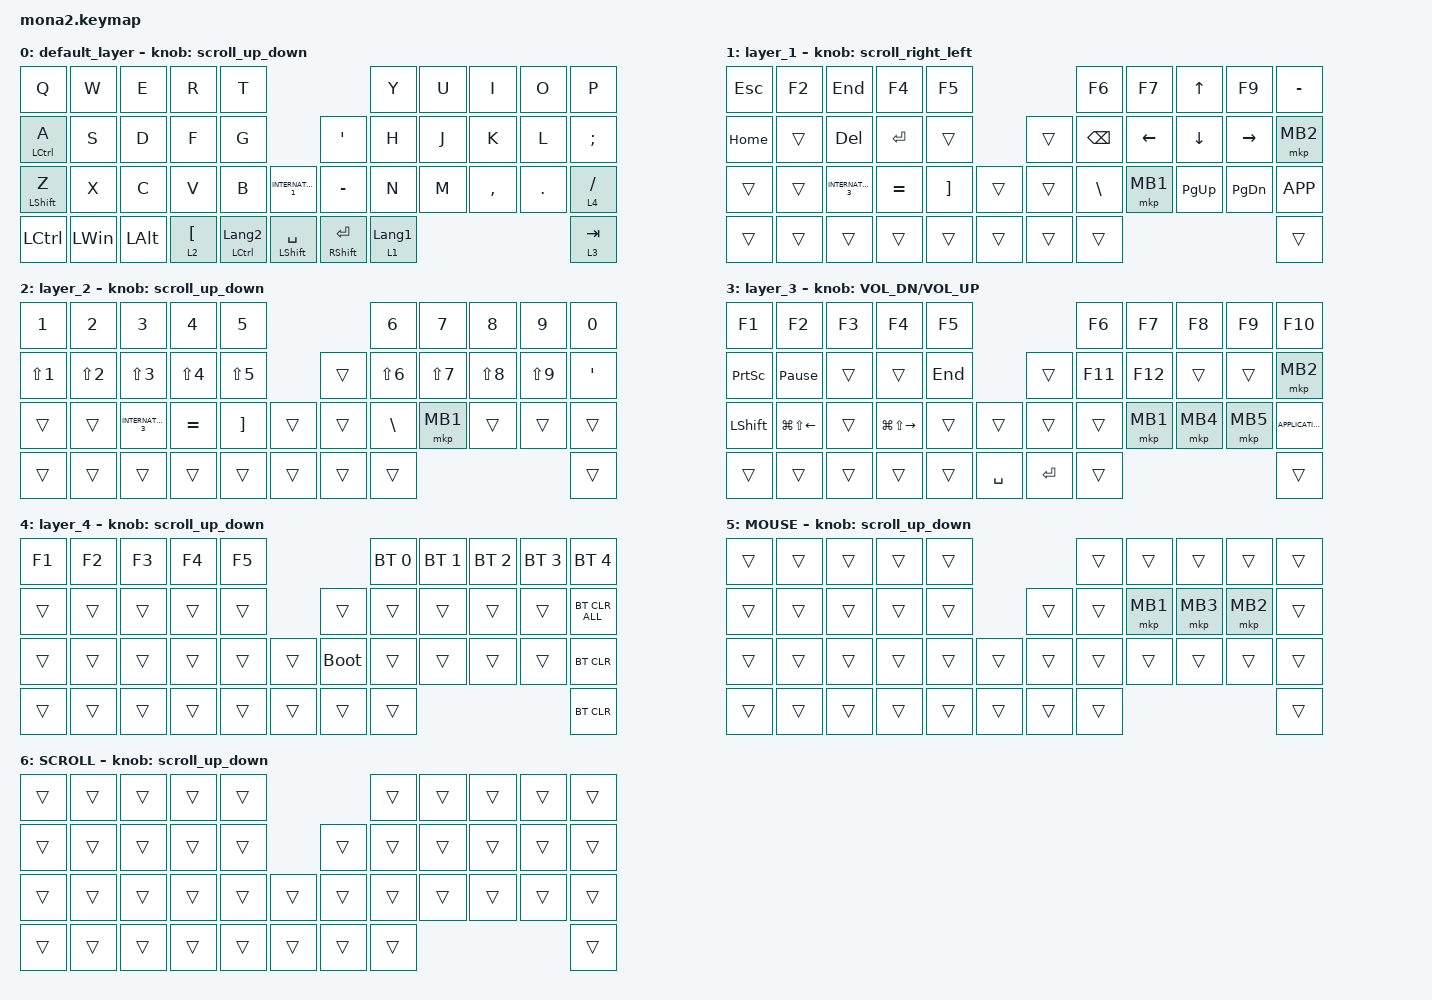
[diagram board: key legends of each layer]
#include <input/processors.dtsi>
#include <dt-bindings/zmk/input_transform.h>
#include <zephyr/dt-bindings/input/input-event-codes.h>
#include <behaviors.dtsi>
#include <dt-bindings/zmk/bt.h>
#include <dt-bindings/zmk/keys.h>
#include <dt-bindings/zmk/pointing.h>

#define ZMK_POINTING_DEFAULT_SCRL_VAL 100
#define MOUSE 5
#define SCROLL 6

&mt {
    flavor = "balanced";
    quick-tap-ms = <0>;
};

&lt {
    quick-tap-ms = <300>;
    flavor = "balanced";
};

/ {
    combos {
        compatible = "zmk,combos";

        layer4_ESC {
            bindings = <&lt 4 ESC>;
            key-positions = <39 38>;
        };

        tab {
            bindings = <&kp TAB>;
            key-positions = <11 12>;
        };
    };

    macros {
        to_layer_0: to_layer_0 {
            compatible = "zmk,behavior-macro-one-param";
            #binding-cells = <1>;
            bindings = <&to 0 &macro_param_1to1 &kp MACRO_PLACEHOLDER>;
            label = "TO_LAYER_0";
        };
    };

    behaviors {
        lt_to_layer_0: lt_to_layer_0 {
            compatible = "zmk,behavior-hold-tap";
            label = "LAYER_TAP_TO_0";
            bindings = <&mo>, <&to_layer_0>;

            #binding-cells = <2>;
            tapping-term-ms = <200>;
        };

        scroll_up_down: mouse_wheel_up_down {
            compatible = "zmk,behavior-sensor-rotate";
            #sensor-binding-cells = <0>;
            bindings = <&msc SCRL_DOWN>, <&msc SCRL_UP>;

            tap-ms = <20>;
        };

        scroll_right_left: mouse_wheel_right_left {
            compatible = "zmk,behavior-sensor-rotate";
            #sensor-binding-cells = <0>;
            bindings = <&msc SCRL_LEFT>, <&msc SCRL_RIGHT>;

            tap-ms = <20>;
        };
    };

    keymap {
        compatible = "zmk,keymap";

        default_layer {
            bindings = <
&kp Q             &kp W         &kp E         &kp R               &kp T                                                                &kp Y             &kp U  &kp I      &kp O    &kp P
&mt LCTRL A       &kp S         &kp D         &kp F               &kp G                                         &kp APOSTROPHE         &kp H             &kp J  &kp K      &kp L    &kp SEMICOLON
&mt LEFT_SHIFT Z  &kp X         &kp C         &kp V               &kp B                 &kp INTERNATIONAL_1     &kp MINUS              &kp N             &kp M  &kp COMMA  &kp DOT  &lt 4 SLASH
&kp LCTRL         &kp LEFT_WIN  &kp LEFT_ALT  &lt 2 LEFT_BRACKET  &mt LCTRL LANGUAGE_2  &mt LEFT_SHIFT SPACE    &mt RIGHT_SHIFT ENTER  &lt 1 LANGUAGE_1                             &lt 3 TAB
            >;

            sensor-bindings = <&scroll_up_down>;
        };

        layer_1 {
            bindings = <
&kp ESCAPE  &kp F2  &kp END              &kp F4     &kp F5                               &kp F6         &kp F7    &kp UP_ARROW  &kp F9         &kp MINUS
&kp HOME    &trans  &kp DELETE           &kp ENTER  &trans                       &trans  &kp BACKSPACE  &kp LEFT  &kp DOWN      &kp RIGHT      &mkp MB2
&trans      &trans  &kp INTERNATIONAL_3  &kp EQUAL  &kp RIGHT_BRACKET  &trans    &trans  &kp BACKSLASH  &mkp MB1  &kp PAGE_UP   &kp PAGE_DOWN  &kp K_APP
&trans      &trans  &trans               &trans     &trans             &trans    &trans  &trans                                                &trans
            >;

            sensor-bindings = <&scroll_right_left>;
        };

        layer_2 {
            bindings = <
&kp NUMBER_1      &kp NUMBER_2      &kp NUMBER_3         &kp NUMBER_4      &kp N5                                                &kp NUMBER_6      &kp N7      &kp N8      &kp N9      &kp N0
&kp LS(NUMBER_1)  &kp LS(NUMBER_2)  &kp LS(NUMBER_3)     &kp LS(NUMBER_4)  &kp LS(N5)                                    &trans  &kp LS(NUMBER_6)  &kp LS(N7)  &kp LS(N8)  &kp LS(N9)  &kp APOSTROPHE
&trans            &trans            &kp INTERNATIONAL_3  &kp EQUAL         &kp RIGHT_BRACKET  &trans                     &trans  &kp BACKSLASH     &mkp MB1    &trans      &trans      &trans
&trans            &trans            &trans               &trans            &trans             &trans                     &trans  &trans                                                &trans
            >;

            sensor-bindings = <&scroll_up_down>;
        };

        layer_3 {
            bindings = <
&kp F1           &kp F2                  &kp F3  &kp F4                   &kp F5                           &kp F6   &kp F7    &kp F8    &kp F9    &kp F10
&kp PRINTSCREEN  &kp PAUSE_BREAK         &trans  &trans                   &kp END               &trans     &kp F11  &kp F12   &trans    &trans    &mkp MB2
&kp LEFT_SHIFT   &kp LG(LS(LEFT_ARROW))  &trans  &kp LG(LS(RIGHT_ARROW))  &trans   &trans       &trans     &trans   &mkp MB1  &mkp MB4  &mkp MB5  &kp K_APPLICATION
&trans           &trans                  &trans  &trans                   &trans   &kp SPACE    &kp ENTER  &trans                                 &trans
            >;

            sensor-bindings = <&inc_dec_kp C_VOL_DN C_VOL_UP>;
        };

        layer_4 {
            bindings = <
&kp F1  &kp F2  &kp F3  &kp F4  &kp F5                         &bt BT_SEL 0  &bt BT_SEL 1  &bt BT_SEL 2  &bt BT_SEL 3  &bt BT_SEL 4
&trans  &trans  &trans  &trans  &trans            &trans       &trans        &trans        &trans        &trans        &bt BT_CLR_ALL
&trans  &trans  &trans  &trans  &trans  &trans    &bootloader  &trans        &trans        &trans        &trans        &bt BT_CLR
&trans  &trans  &trans  &trans  &trans  &trans    &trans       &trans                                                  &bt BT_CLR
            >;

            sensor-bindings = <&scroll_up_down>;
        };

        MOUSE {
            bindings = <
&trans  &trans  &trans  &trans  &trans                    &trans  &trans    &trans    &trans    &trans
&trans  &trans  &trans  &trans  &trans            &trans  &trans  &mkp MB1  &mkp MB3  &mkp MB2  &trans
&trans  &trans  &trans  &trans  &trans  &trans    &trans  &trans  &trans    &trans    &trans    &trans
&trans  &trans  &trans  &trans  &trans  &trans    &trans  &trans                                &trans
            >;

            sensor-bindings = <&scroll_up_down>;
        };

        SCROLL {
            bindings = <
&trans  &trans  &trans  &trans  &trans                    &trans  &trans    &trans    &trans    &trans
&trans  &trans  &trans  &trans  &trans            &trans  &trans  &trans    &trans    &trans    &trans
&trans  &trans  &trans  &trans  &trans  &trans    &trans  &trans  &trans    &trans    &trans    &trans
&trans  &trans  &trans  &trans  &trans  &trans    &trans  &trans                                &trans
            >;

            sensor-bindings = <&scroll_up_down>;
        };
    };
};
